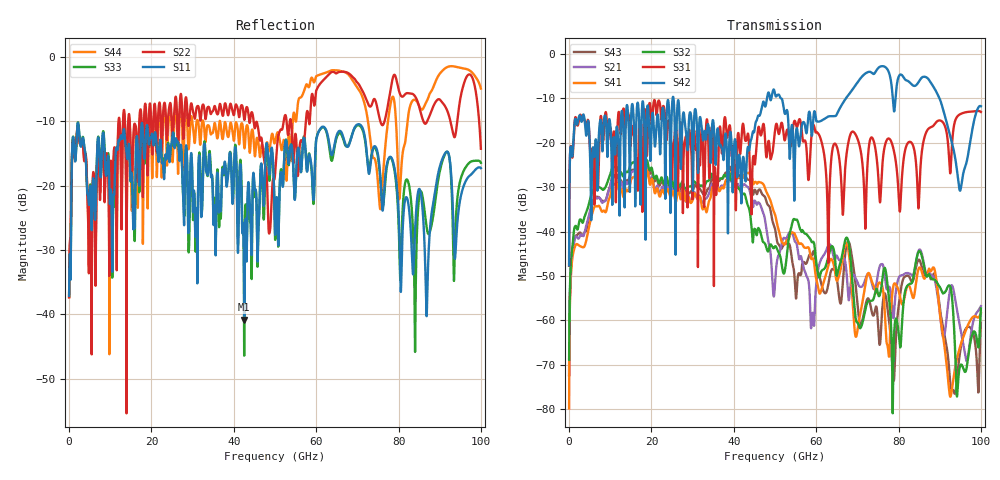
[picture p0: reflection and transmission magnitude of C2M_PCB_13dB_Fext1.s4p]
! Info: Touchstone file created by Circ.  Input file=Intel_C2M_200G_2in_202204012_staggered.circ
# Hz S RI R 50
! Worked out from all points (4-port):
!   10000 points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, 10 MHz to 100 GHz, reference 50 ohm
!   strongest paths, dB at 10 MHz, 25.01 GHz, 50.01 GHz, 75.01 GHz, 100 GHz:
!     S42: -47.7, -11.6, -9.0, -3.2, -11.7
!     S31: -47.7, -28.3, -17.2, -26.6, -13.0
!     S32: -68.8, -28.3, -43.3, -54.0, -57.3
!     S41: -79.9, -31.4, -36.2, -52.0, -58.4
!     S21: -72.4, -30.5, -51.8, -49.5, -56.8
!     S43: -72.4, -29.6, -39.4, -60.8, -60.6
!   lowest |S11| = -40.8 dB at 42.54 GHz (marker M1), VSWR 1.02, Z = 49.1 + j0.0898 ohm
!   |S11| at or under -10 dB: start of sweep to end of sweep
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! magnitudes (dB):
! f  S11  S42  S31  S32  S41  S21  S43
! 10 MHz  -37.1  -47.7  -47.7  -68.8  -79.9  -72.4  -72.4
! 2.19 GHz  -10.3  -14.9  -15.9  -39.1  -43.0  -41.6  -40.5
! 10.95 GHz  -21.4  -19.1  -17.6  -25.5  -29.4  -27.8  -27.4
! 42.54 GHz  -40.8  -25.1  -17.9  -31.5  -27.2  -29.3  -27.4
! 59.1 GHz  -19.5  -17.2  -16.7  -42.4  -46.1  -58.4  -45.0
! 92.62 GHz  -17.0  -18.7  -26.6  -52.6  -77.2  -52.6  -74.9
! 100 GHz  -17.3  -11.7  -13.0  -57.3  -58.4  -56.8  -60.6
